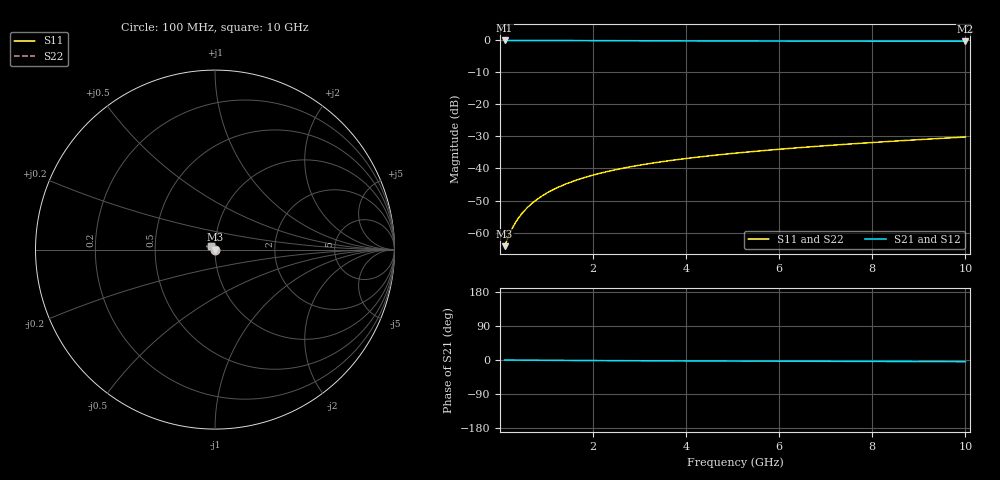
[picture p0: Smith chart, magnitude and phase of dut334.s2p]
! Touchstone file exported from HFSS 2024.1.0
!  File:  C:/UserFiles/LocalFiles/RDL_TSV_Batchsim/temp_TSV1_334_1779618167.aedt
!  Generated:  06:33:14 PM May 24, 2026
!  Design:  TSV1
!  Project:  temp_TSV1_334_1779618167
!  Setup:  Setup1
!  Solution:  Sweep
! Variables:
!  dtsv = 5.02um
!  hbump = 3um
!  htsv = 61.36um
!  lrdl = 252.1521522um
!  p = 40
!  p1 = 46.95um
!  t = 500um
!  trdl = 3um
!  wrdl = 24.89489489um
# GHz S MA R 50.000000
! Terminal data exported
! Port[1] = TSV22_T1
! Port[2] = TSV22_T2
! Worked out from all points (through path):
!   100 points, 100 MHz to 10 GHz, reference 50 ohm
!   highest |S21| = 0.00 dB at 100 MHz (marker M1); lowest = -0.3 dB at 10 GHz (marker M2)
!   lowest |S11| = -64.3 dB at 100 MHz (marker M3), VSWR 1.00, Z = 50 - j0.0423 ohm
!   |S11| at or under -10 dB: start of sweep to end of sweep
!   |S22| runs from -64.3 to -30.2 dB; largest |S21 - S12| = 4e-15
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0.1  0.0006122 -43.6  0.9995 -0.1  0.9995 -0.1  0.0006122 -43.6
! Gamma 0 0 0 0
! Port Impedance 50 0 50 0
0.2  0.0009296 -65.7  0.9995 -0.2  0.9995 -0.2  0.0009296 -65.7
0.3  0.001303 -77.2  0.9994 -0.2  0.9994 -0.2  0.001303 -77.2
0.4  0.001696 -84.5  0.9992 -0.3  0.9992 -0.3  0.001696 -84.5
0.5  0.002097 -89.9  0.999 -0.4  0.999 -0.4  0.002098 -89.9
0.6  0.002501 -94.3  0.9988 -0.5  0.9988 -0.5  0.002501 -94.3
0.7  0.002905 -98.0  0.9986 -0.6  0.9986 -0.6  0.002905 -98.0
0.8  0.003307 -101.4  0.9984 -0.6  0.9984 -0.6  0.003307 -101.4
0.9  0.003708 -104.5  0.9981 -0.7  0.9981 -0.7  0.003708 -104.5
1  0.004105 -107.5  0.9978 -0.8  0.9978 -0.8  0.004105 -107.5
1.2  0.004892 -113.0  0.9971 -0.9  0.9971 -0.9  0.004892 -113.0
1.5  0.006044 -120.5  0.9959 -1.1  0.9959 -1.1  0.006044 -120.5
1.8  0.007161 -127.5  0.9946 -1.3  0.9946 -1.3  0.007161 -127.5
2.1  0.00824 -134.1  0.9932 -1.5  0.9932 -1.5  0.00824 -134.1
2.5  0.009621 -142.2  0.9913 -1.7  0.9913 -1.7  0.009621 -142.2
2.9  0.01094 -149.7  0.9894 -1.9  0.9894 -1.9  0.01094 -149.7
3.4  0.01252 -158.2  0.9871 -2.1  0.9871 -2.1  0.01252 -158.2
4.2  0.01491 -170.2  0.9838 -2.5  0.9838 -2.5  0.01491 -170.2
5.1  0.01747 178.4  0.9806 -2.8  0.9806 -2.8  0.01747 178.4
6.7  0.02189 162.5  0.9765 -3.3  0.9765 -3.3  0.02189 162.5
8.4  0.02656 150.1  0.9735 -3.8  0.9735 -3.8  0.02656 150.1
10  0.03102 141.2  0.9715 -4.4  0.9715 -4.4  0.03102 141.2
